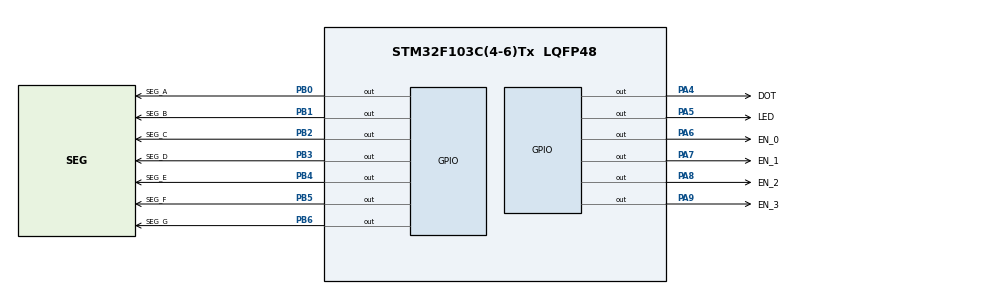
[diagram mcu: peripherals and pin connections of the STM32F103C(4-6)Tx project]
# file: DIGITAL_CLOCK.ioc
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Mcu.Family=STM32F1
Mcu.Name=STM32F103C(4-6)Tx
Mcu.Package=LQFP48
NVIC.PriorityGroup=NVIC_PRIORITYGROUP_4
NVIC.TIM2_IRQn=true\:0\:0\:false\:false\:true\:true\:true\:true
PA4.GPIO_Label=DOT
PA4.Signal=GPIO_Output
PA5.GPIO_Label=LED
PA5.Signal=GPIO_Output
PA6.GPIO_Label=EN_0
PA6.Signal=GPIO_Output
PA7.GPIO_Label=EN_1
PA7.Signal=GPIO_Output
PA8.GPIO_Label=EN_2
PA8.Signal=GPIO_Output
PA9.GPIO_Label=EN_3
PA9.Signal=GPIO_Output
PB0.GPIO_Label=SEG_A
PB0.Signal=GPIO_Output
PB1.GPIO_Label=SEG_B
PB1.Signal=GPIO_Output
PB2.GPIO_Label=SEG_C
PB2.Signal=GPIO_Output
PB3.GPIO_Label=SEG_D
PB3.Signal=GPIO_Output
PB4.GPIO_Label=SEG_E
PB4.Signal=GPIO_Output
PB5.GPIO_Label=SEG_F
PB5.Signal=GPIO_Output
PB6.GPIO_Label=SEG_G
PB6.Signal=GPIO_Output
ProjectManager.HeapSize=0x200
ProjectManager.StackSize=0x400
ProjectManager.TargetToolchain=STM32CubeIDE
RCC.APB1Freq_Value=8000000
RCC.APB2Freq_Value=8000000
TIM2.Period=9
TIM2.Prescaler=7999
VP_TIM2_VS_ClockSourceINT.Mode=Internal
board=custom

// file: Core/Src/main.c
/* USER CODE BEGIN Header */
/**
  ******************************************************************************
  * @file           : main.c
  * @brief          : Main program body
  ******************************************************************************
  * @attention
  *
  * Copyright (c) 2023 STMicroelectronics.
  * All rights reserved.
  *
  * This software is licensed under terms that can be found in the LICENSE file
  * in the root directory of this software component.
  * If no LICENSE file comes with this software, it is provided AS-IS.
  *
  ******************************************************************************
  */
/* USER CODE END Header */
#include "main.h"
#include <stdio.h>
#include <math.h>

TIM_HandleTypeDef htim2;

void SystemClock_Config(void);
static void MX_GPIO_Init(void);
static void MX_TIM2_Init(void);

/* USER CODE BEGIN 0 */
int hour = 23 , minute = 59 , second = 55;
int led_index = 0;
int led_buffer[4] = {1, 2, 3, 4};
void display7SEG(int num);
void update7SEG(int index);
void updateClockBuffer();
const int ONE_SECOND = 1000;
const int TIMER_CYCLE = 10;
const int LED7SEG_CYCLE = 250;
const int MAX_LED = 4;

int timer0_counter = 0;
int timer0_flag = 0;
void setTimer0(int duration) {
	timer0_counter = duration / TIMER_CYCLE;
	timer0_flag = 0;
}
void runTimer0() {
	if (timer0_counter > 0) {
		timer0_counter --;
		if (timer0_counter == 0) timer0_flag = 1;
	}
}
int timer1_counter = 0;
int timer1_flag = 0;
void setTimer1(int duration) {
	timer1_counter = duration / TIMER_CYCLE;
	timer1_flag = 0;
}
void runTimer1() {
	if (timer1_counter > 0) {
		timer1_counter --;
		if (timer1_counter == 0) timer1_flag = 1;
	}
}
/* USER CODE END 0 */

int main(void)
{

  /* MCU Configuration--------------------------------------------------------*/

  /* Reset of all peripherals, Initializes the Flash interface and the Systick. */
  HAL_Init();

  /* Configure the system clock */
  SystemClock_Config();

  /* Initialize all configured peripherals */
  MX_GPIO_Init();
  MX_TIM2_Init();
  /* USER CODE BEGIN 2 */
  HAL_TIM_Base_Start_IT (&htim2);
  /* USER CODE END 2 */

  /* Infinite loop */
  /* USER CODE BEGIN WHILE */
  setTimer0(ONE_SECOND);
  setTimer1(LED7SEG_CYCLE);
  while (1)
  {
	  if (timer0_flag == 1) {
		  second ++;
		  setTimer0(ONE_SECOND);
		  HAL_GPIO_TogglePin(LED_GPIO_Port, LED_Pin);
		  HAL_GPIO_TogglePin(DOT_GPIO_Port, DOT_Pin);
	  }
	  if (second >= 60) {
		  second = 0;
		  minute ++;
	  }
	  if (minute >= 60) {
		  minute = 0;
		  hour ++;
	  }
	  if (hour >= 24) {
		  hour = 0;
	  }
	  updateClockBuffer();
	  update7SEG(led_index);
	  if (timer1_flag == 1) {
		  led_index ++;
		  if (led_index == MAX_LED) led_index = 0;
		  setTimer1(LED7SEG_CYCLE);
	  }
    /* USER CODE END WHILE */

  }
}

void SystemClock_Config(void)
{
  RCC_OscInitTypeDef RCC_OscInitStruct = {0};
  RCC_ClkInitTypeDef RCC_ClkInitStruct = {0};

  /** Initializes the RCC Oscillators according to the specified parameters
  * in the RCC_OscInitTypeDef structure.
  */
  RCC_OscInitStruct.OscillatorType = RCC_OSCILLATORTYPE_HSI;
  RCC_OscInitStruct.HSIState = RCC_HSI_ON;
  RCC_OscInitStruct.HSICalibrationValue = RCC_HSICALIBRATION_DEFAULT;
  RCC_OscInitStruct.PLL.PLLState = RCC_PLL_NONE;
  if (HAL_RCC_OscConfig(&RCC_OscInitStruct) != HAL_OK)
  {
    Error_Handler();
  }

  /** Initializes the CPU, AHB and APB buses clocks
  */
  RCC_ClkInitStruct.ClockType = RCC_CLOCKTYPE_HCLK|RCC_CLOCKTYPE_SYSCLK
                              |RCC_CLOCKTYPE_PCLK1|RCC_CLOCKTYPE_PCLK2;
  RCC_ClkInitStruct.SYSCLKSource = RCC_SYSCLKSOURCE_HSI;
  RCC_ClkInitStruct.AHBCLKDivider = RCC_SYSCLK_DIV1;
  RCC_ClkInitStruct.APB1CLKDivider = RCC_HCLK_DIV1;
  RCC_ClkInitStruct.APB2CLKDivider = RCC_HCLK_DIV1;

  if (HAL_RCC_ClockConfig(&RCC_ClkInitStruct, FLASH_LATENCY_0) != HAL_OK)
  {
    Error_Handler();
  }
}

static void MX_TIM2_Init(void)
{

  TIM_ClockConfigTypeDef sClockSourceConfig = {0};
  TIM_MasterConfigTypeDef sMasterConfig = {0};

  htim2.Instance = TIM2;
  htim2.Init.Prescaler = 7999;
  htim2.Init.CounterMode = TIM_COUNTERMODE_UP;
  htim2.Init.Period = 9;
  htim2.Init.ClockDivision = TIM_CLOCKDIVISION_DIV1;
  htim2.Init.AutoReloadPreload = TIM_AUTORELOAD_PRELOAD_DISABLE;
  if (HAL_TIM_Base_Init(&htim2) != HAL_OK)
  {
    Error_Handler();
  }
  sClockSourceConfig.ClockSource = TIM_CLOCKSOURCE_INTERNAL;
  if (HAL_TIM_ConfigClockSource(&htim2, &sClockSourceConfig) != HAL_OK)
  {
    Error_Handler();
  }
  sMasterConfig.MasterOutputTrigger = TIM_TRGO_RESET;
  sMasterConfig.MasterSlaveMode = TIM_MASTERSLAVEMODE_DISABLE;
  if (HAL_TIMEx_MasterConfigSynchronization(&htim2, &sMasterConfig) != HAL_OK)
  {
    Error_Handler();
  }

}

static void MX_GPIO_Init(void)
{
  GPIO_InitTypeDef GPIO_InitStruct = {0};

  /* GPIO Ports Clock Enable */
  __HAL_RCC_GPIOA_CLK_ENABLE();
  __HAL_RCC_GPIOB_CLK_ENABLE();

  /*Configure GPIO pin Output Level */
  HAL_GPIO_WritePin(GPIOA, DOT_Pin|LED_Pin|EN_0_Pin|EN_1_Pin
                          |EN_2_Pin|EN_3_Pin, GPIO_PIN_RESET);

  /*Configure GPIO pin Output Level */
  HAL_GPIO_WritePin(GPIOB, SEG_A_Pin|SEG_B_Pin|SEG_C_Pin|SEG_D_Pin
                          |SEG_E_Pin|SEG_F_Pin|SEG_G_Pin, GPIO_PIN_RESET);

  /*Configure GPIO pins : DOT_Pin LED_Pin EN_0_Pin EN_1_Pin
                           EN_2_Pin EN_3_Pin */
  GPIO_InitStruct.Pin = DOT_Pin|LED_Pin|EN_0_Pin|EN_1_Pin
                          |EN_2_Pin|EN_3_Pin;
  GPIO_InitStruct.Mode = GPIO_MODE_OUTPUT_PP;
  GPIO_InitStruct.Pull = GPIO_NOPULL;
  GPIO_InitStruct.Speed = GPIO_SPEED_FREQ_LOW;
  HAL_GPIO_Init(GPIOA, &GPIO_InitStruct);

  /*Configure GPIO pins : SEG_A_Pin SEG_B_Pin SEG_C_Pin SEG_D_Pin
                           SEG_E_Pin SEG_F_Pin SEG_G_Pin */
  GPIO_InitStruct.Pin = SEG_A_Pin|SEG_B_Pin|SEG_C_Pin|SEG_D_Pin
                          |SEG_E_Pin|SEG_F_Pin|SEG_G_Pin;
  GPIO_InitStruct.Mode = GPIO_MODE_OUTPUT_PP;
  GPIO_InitStruct.Pull = GPIO_NOPULL;
  GPIO_InitStruct.Speed = GPIO_SPEED_FREQ_LOW;
  HAL_GPIO_Init(GPIOB, &GPIO_InitStruct);

}

/* USER CODE BEGIN 4 */
void display7SEG(int num) {
	switch (num) {
	case 0:
		HAL_GPIO_WritePin(SEG_A_GPIO_Port, SEG_A_Pin, GPIO_PIN_RESET);
	  	HAL_GPIO_WritePin(SEG_B_GPIO_Port, SEG_B_Pin, GPIO_PIN_RESET);
	 	HAL_GPIO_WritePin(SEG_C_GPIO_Port, SEG_C_Pin, GPIO_PIN_RESET);
	 	HAL_GPIO_WritePin(SEG_D_GPIO_Port, SEG_D_Pin, GPIO_PIN_RESET);
	 	HAL_GPIO_WritePin(SEG_E_GPIO_Port, SEG_E_Pin, GPIO_PIN_RESET);
	 	HAL_GPIO_WritePin(SEG_F_GPIO_Port, SEG_F_Pin, GPIO_PIN_RESET);
	 	HAL_GPIO_WritePin(SEG_G_GPIO_Port, SEG_G_Pin, GPIO_PIN_SET);
	 	break;
	case 1:
		HAL_GPIO_WritePin(SEG_A_GPIO_Port, SEG_A_Pin, GPIO_PIN_SET);
		HAL_GPIO_WritePin(SEG_B_GPIO_Port, SEG_B_Pin, GPIO_PIN_RESET);
		HAL_GPIO_WritePin(SEG_C_GPIO_Port, SEG_C_Pin, GPIO_PIN_RESET);
		HAL_GPIO_WritePin(SEG_D_GPIO_Port, SEG_D_Pin, GPIO_PIN_SET);
		HAL_GPIO_WritePin(SEG_E_GPIO_Port, SEG_E_Pin, GPIO_PIN_SET);
		HAL_GPIO_WritePin(SEG_F_GPIO_Port, SEG_F_Pin, GPIO_PIN_SET);
		HAL_GPIO_WritePin(SEG_G_GPIO_Port, SEG_G_Pin, GPIO_PIN_SET);
		break;
	case 2:
		HAL_GPIO_WritePin(SEG_A_GPIO_Port, SEG_A_Pin, GPIO_PIN_RESET);
		HAL_GPIO_WritePin(SEG_B_GPIO_Port, SEG_B_Pin, GPIO_PIN_RESET);
		HAL_GPIO_WritePin(SEG_C_GPIO_Port, SEG_C_Pin, GPIO_PIN_SET);
		HAL_GPIO_WritePin(SEG_D_GPIO_Port, SEG_D_Pin, GPIO_PIN_RESET);
		HAL_GPIO_WritePin(SEG_E_GPIO_Port, SEG_E_Pin, GPIO_PIN_RESET);
		HAL_GPIO_WritePin(SEG_F_GPIO_Port, SEG_F_Pin, GPIO_PIN_SET);
		HAL_GPIO_WritePin(SEG_G_GPIO_Port, SEG_G_Pin, GPIO_PIN_RESET);
		break;
	case 3:
		HAL_GPIO_WritePin(SEG_A_GPIO_Port, SEG_A_Pin, GPIO_PIN_RESET);
		HAL_GPIO_WritePin(SEG_B_GPIO_Port, SEG_B_Pin, GPIO_PIN_RESET);
		HAL_GPIO_WritePin(SEG_C_GPIO_Port, SEG_C_Pin, GPIO_PIN_RESET);
		HAL_GPIO_WritePin(SEG_D_GPIO_Port, SEG_D_Pin, GPIO_PIN_RESET);
		HAL_GPIO_WritePin(SEG_E_GPIO_Port, SEG_E_Pin, GPIO_PIN_SET);
		HAL_GPIO_WritePin(SEG_F_GPIO_Port, SEG_F_Pin, GPIO_PIN_SET);
		HAL_GPIO_WritePin(SEG_G_GPIO_Port, SEG_G_Pin, GPIO_PIN_RESET);
		break;
	case 4:
		HAL_GPIO_WritePin(SEG_A_GPIO_Port, SEG_A_Pin, GPIO_PIN_SET);
		HAL_GPIO_WritePin(SEG_B_GPIO_Port, SEG_B_Pin, GPIO_PIN_RESET);
		HAL_GPIO_WritePin(SEG_C_GPIO_Port, SEG_C_Pin, GPIO_PIN_RESET);
		HAL_GPIO_WritePin(SEG_D_GPIO_Port, SEG_D_Pin, GPIO_PIN_SET);
		HAL_GPIO_WritePin(SEG_E_GPIO_Port, SEG_E_Pin, GPIO_PIN_SET);
		HAL_GPIO_WritePin(SEG_F_GPIO_Port, SEG_F_Pin, GPIO_PIN_RESET);
		HAL_GPIO_WritePin(SEG_G_GPIO_Port, SEG_G_Pin, GPIO_PIN_RESET);
		break;
	case 5:
		HAL_GPIO_WritePin(SEG_A_GPIO_Port, SEG_A_Pin, GPIO_PIN_RESET);
		HAL_GPIO_WritePin(SEG_B_GPIO_Port, SEG_B_Pin, GPIO_PIN_SET);
		HAL_GPIO_WritePin(SEG_C_GPIO_Port, SEG_C_Pin, GPIO_PIN_RESET);
		HAL_GPIO_WritePin(SEG_D_GPIO_Port, SEG_D_Pin, GPIO_PIN_RESET);
		HAL_GPIO_WritePin(SEG_E_GPIO_Port, SEG_E_Pin, GPIO_PIN_SET);
		HAL_GPIO_WritePin(SEG_F_GPIO_Port, SEG_F_Pin, GPIO_PIN_RESET);
		HAL_GPIO_WritePin(SEG_G_GPIO_Port, SEG_G_Pin, GPIO_PIN_RESET);
		break;
	case 6:
		HAL_GPIO_WritePin(SEG_A_GPIO_Port, SEG_A_Pin, GPIO_PIN_RESET);
		HAL_GPIO_WritePin(SEG_B_GPIO_Port, SEG_B_Pin, GPIO_PIN_SET);
		HAL_GPIO_WritePin(SEG_C_GPIO_Port, SEG_C_Pin, GPIO_PIN_RESET);
		HAL_GPIO_WritePin(SEG_D_GPIO_Port, SEG_D_Pin, GPIO_PIN_RESET);
		HAL_GPIO_WritePin(SEG_E_GPIO_Port, SEG_E_Pin, GPIO_PIN_RESET);
		HAL_GPIO_WritePin(SEG_F_GPIO_Port, SEG_F_Pin, GPIO_PIN_RESET);
		HAL_GPIO_WritePin(SEG_G_GPIO_Port, SEG_G_Pin, GPIO_PIN_RESET);
		break;
	case 7:
		HAL_GPIO_WritePin(SEG_A_GPIO_Port, SEG_A_Pin, GPIO_PIN_RESET);
		HAL_GPIO_WritePin(SEG_B_GPIO_Port, SEG_B_Pin, GPIO_PIN_RESET);
		HAL_GPIO_WritePin(SEG_C_GPIO_Port, SEG_C_Pin, GPIO_PIN_RESET);
		HAL_GPIO_WritePin(SEG_D_GPIO_Port, SEG_D_Pin, GPIO_PIN_SET);
		HAL_GPIO_WritePin(SEG_E_GPIO_Port, SEG_E_Pin, GPIO_PIN_SET);
		HAL_GPIO_WritePin(SEG_F_GPIO_Port, SEG_F_Pin, GPIO_PIN_SET);
		HAL_GPIO_WritePin(SEG_G_GPIO_Port, SEG_G_Pin, GPIO_PIN_SET);
		break;
	case 8:
		HAL_GPIO_WritePin(SEG_A_GPIO_Port, SEG_A_Pin, GPIO_PIN_RESET);
		HAL_GPIO_WritePin(SEG_B_GPIO_Port, SEG_B_Pin, GPIO_PIN_RESET);
		HAL_GPIO_WritePin(SEG_C_GPIO_Port, SEG_C_Pin, GPIO_PIN_RESET);
		HAL_GPIO_WritePin(SEG_D_GPIO_Port, SEG_D_Pin, GPIO_PIN_RESET);
		HAL_GPIO_WritePin(SEG_E_GPIO_Port, SEG_E_Pin, GPIO_PIN_RESET);
		HAL_GPIO_WritePin(SEG_F_GPIO_Port, SEG_F_Pin, GPIO_PIN_RESET);
		HAL_GPIO_WritePin(SEG_G_GPIO_Port, SEG_G_Pin, GPIO_PIN_RESET);
		break;
	case 9:
		HAL_GPIO_WritePin(SEG_A_GPIO_Port, SEG_A_Pin, GPIO_PIN_RESET);
		HAL_GPIO_WritePin(SEG_B_GPIO_Port, SEG_B_Pin, GPIO_PIN_RESET);
		HAL_GPIO_WritePin(SEG_C_GPIO_Port, SEG_C_Pin, GPIO_PIN_RESET);
		HAL_GPIO_WritePin(SEG_D_GPIO_Port, SEG_D_Pin, GPIO_PIN_RESET);
		HAL_GPIO_WritePin(SEG_E_GPIO_Port, SEG_E_Pin, GPIO_PIN_SET);
		HAL_GPIO_WritePin(SEG_F_GPIO_Port, SEG_F_Pin, GPIO_PIN_RESET);
		HAL_GPIO_WritePin(SEG_G_GPIO_Port, SEG_G_Pin, GPIO_PIN_RESET);
		break;
	default:
		HAL_GPIO_WritePin(SEG_A_GPIO_Port, SEG_A_Pin, GPIO_PIN_SET);
		HAL_GPIO_WritePin(SEG_B_GPIO_Port, SEG_B_Pin, GPIO_PIN_SET);
		HAL_GPIO_WritePin(SEG_C_GPIO_Port, SEG_C_Pin, GPIO_PIN_SET);
		HAL_GPIO_WritePin(SEG_D_GPIO_Port, SEG_D_Pin, GPIO_PIN_SET);
		HAL_GPIO_WritePin(SEG_E_GPIO_Port, SEG_E_Pin, GPIO_PIN_SET);
		HAL_GPIO_WritePin(SEG_F_GPIO_Port, SEG_F_Pin, GPIO_PIN_SET);
		HAL_GPIO_WritePin(SEG_G_GPIO_Port, SEG_G_Pin, GPIO_PIN_SET);
		break;
	}
}
void update7SEG(int index) {
	switch (index) {
	case 0:
		display7SEG(led_buffer[0]);
		HAL_GPIO_WritePin(EN_0_GPIO_Port, EN_0_Pin, GPIO_PIN_SET);
		HAL_GPIO_WritePin(EN_1_GPIO_Port, EN_1_Pin, GPIO_PIN_RESET);
		HAL_GPIO_WritePin(EN_2_GPIO_Port, EN_2_Pin, GPIO_PIN_RESET);
		HAL_GPIO_WritePin(EN_3_GPIO_Port, EN_3_Pin, GPIO_PIN_RESET);
		break;
	case 1:
		display7SEG(led_buffer[1]);
		HAL_GPIO_WritePin(EN_0_GPIO_Port, EN_0_Pin, GPIO_PIN_RESET);
		HAL_GPIO_WritePin(EN_1_GPIO_Port, EN_1_Pin, GPIO_PIN_SET);
		HAL_GPIO_WritePin(EN_2_GPIO_Port, EN_2_Pin, GPIO_PIN_RESET);
		HAL_GPIO_WritePin(EN_3_GPIO_Port, EN_3_Pin, GPIO_PIN_RESET);
		break;
	case 2:
		display7SEG(led_buffer[2]);
		HAL_GPIO_WritePin(EN_0_GPIO_Port, EN_0_Pin, GPIO_PIN_RESET);
		HAL_GPIO_WritePin(EN_1_GPIO_Port, EN_1_Pin, GPIO_PIN_RESET);
		HAL_GPIO_WritePin(EN_2_GPIO_Port, EN_2_Pin, GPIO_PIN_SET);
		HAL_GPIO_WritePin(EN_3_GPIO_Port, EN_3_Pin, GPIO_PIN_RESET);
		break;
	case 3:
		display7SEG(led_buffer[3]);
		HAL_GPIO_WritePin(EN_0_GPIO_Port, EN_0_Pin, GPIO_PIN_RESET);
		HAL_GPIO_WritePin(EN_1_GPIO_Port, EN_1_Pin, GPIO_PIN_RESET);
		HAL_GPIO_WritePin(EN_2_GPIO_Port, EN_2_Pin, GPIO_PIN_RESET);
		HAL_GPIO_WritePin(EN_3_GPIO_Port, EN_3_Pin, GPIO_PIN_SET);
		break;
	default:
		break;
	}
}
void updateClockBuffer() {
	led_buffer[0] = hour / 10;
	led_buffer[1] = hour % 10;
	led_buffer[2] = minute / 10;
	led_buffer[3] = minute % 10;
}
void HAL_TIM_PeriodElapsedCallback (TIM_HandleTypeDef *htim) {
	runTimer0();
	runTimer1();
}
/* USER CODE END 4 */

void Error_Handler(void)
{
  __disable_irq();
  while (1)
  {
  }
}
